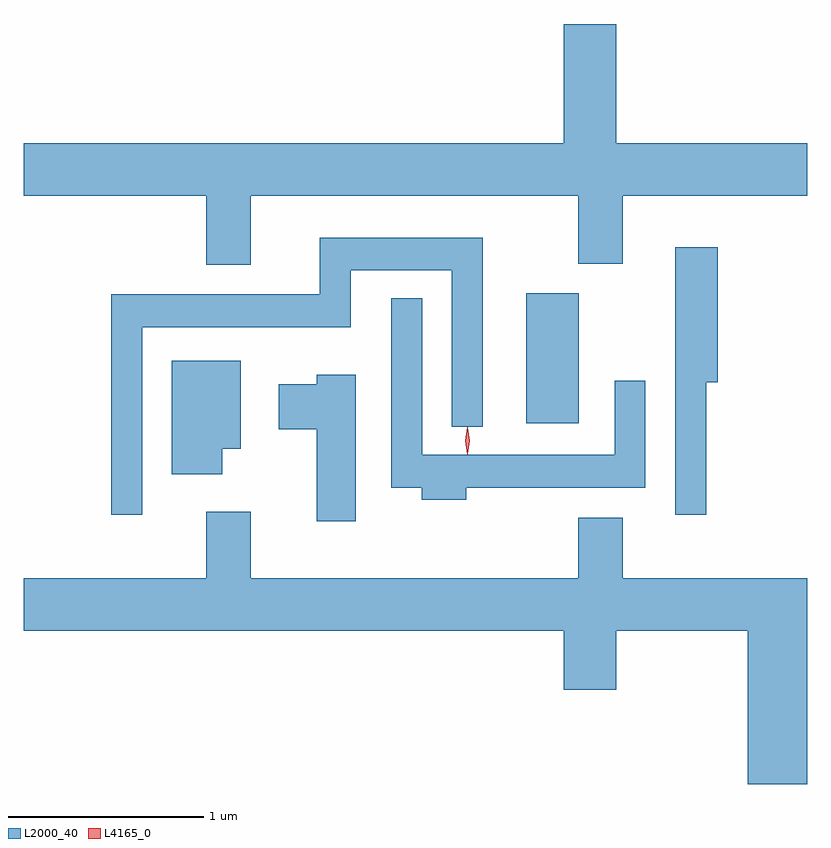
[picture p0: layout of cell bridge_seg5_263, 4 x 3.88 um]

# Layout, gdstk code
import gdstk
lib = gdstk.Library(unit=1e-6, precision=1e-09)
def R(c, l, rs):  # rectangles x0, y0, x1, y1
    for r in rs: c.add(gdstk.rectangle(r[:2], r[2:], *l))
def P(c, l, *ps):  # polygons
    for p in ps: c.add(gdstk.Polygon(p, *l))
L2000_40 = (2000, 40)
L4165_0 = (4165, 0)

bridge_seg5_263 = lib.new_cell('bridge_seg5_263')
R(bridge_seg5_263, L2000_40, [(674.426,1500.036,674.694,1500.699)])
P(bridge_seg5_263, L2000_40, [(673.019,1501.196),(674.691,1501.196),(674.691,1500.851),(674.919,1500.851),(674.919,1501.196),(675.86,1501.196),(675.86,1501.464),(674.884,1501.464),(674.884,1502.074),(674.616,1502.074),(674.616,1501.464),(671.86,1501.464),(671.86,1501.196),(672.791,1501.196),(672.791,1500.846),(673.019,1500.846)],
  [(672.464,1500.526),(673.529,1500.526),(673.529,1500.816),(674.046,1500.816),(674.046,1500.018),(674.204,1500.018),(674.204,1500.984),(673.371,1500.984),(673.371,1500.694),(672.306,1500.694),(672.306,1499.568),(672.464,1499.568)],
  [(675.344,1500.246),(675.404,1500.246),(675.404,1500.934),(675.186,1500.934),(675.186,1499.568),(675.344,1499.568)],
  [(674.119,1499.706),(675.034,1499.706),(675.034,1500.253),(674.876,1500.253),(674.876,1499.874),(673.894,1499.874),(673.894,1500.673),(673.736,1500.673),(673.736,1499.706),(673.891,1499.706),(673.891,1499.646),(674.119,1499.646)],
  [(672.874,1499.906),(672.969,1499.906),(672.969,1500.354),(672.616,1500.354),(672.616,1499.776),(672.874,1499.776)],
  [(673.554,1500.284),(673.356,1500.284),(673.356,1500.234),(673.161,1500.234),(673.161,1500.006),(673.356,1500.006),(673.356,1499.536),(673.554,1499.536)],
  [(675.86,1499.244),(674.919,1499.244),(674.919,1499.554),(674.691,1499.554),(674.691,1499.244),(673.019,1499.244),(673.019,1499.584),(672.791,1499.584),(672.791,1499.244),(671.86,1499.244),(671.86,1498.976),(674.616,1498.976),(674.616,1498.676),(674.884,1498.676),(674.884,1498.976),(675.556,1498.976),(675.556,1498.194),(675.86,1498.194)])
P(bridge_seg5_263, L4165_0, [(674.125,1499.877),(674.125,1499.878),(674.115,1499.947),(674.125,1500.016),(674.125,1500.016),(674.126,1500.016),(674.135,1499.947),(674.126,1499.878)],
  [(674.126,1499.879),(674.126,1499.88),(674.116,1499.946),(674.126,1500.012),(674.126,1500.013),(674.127,1500.012),(674.136,1499.946),(674.127,1499.88)])

lib.write_gds('bridge_seg5_263.gds')
